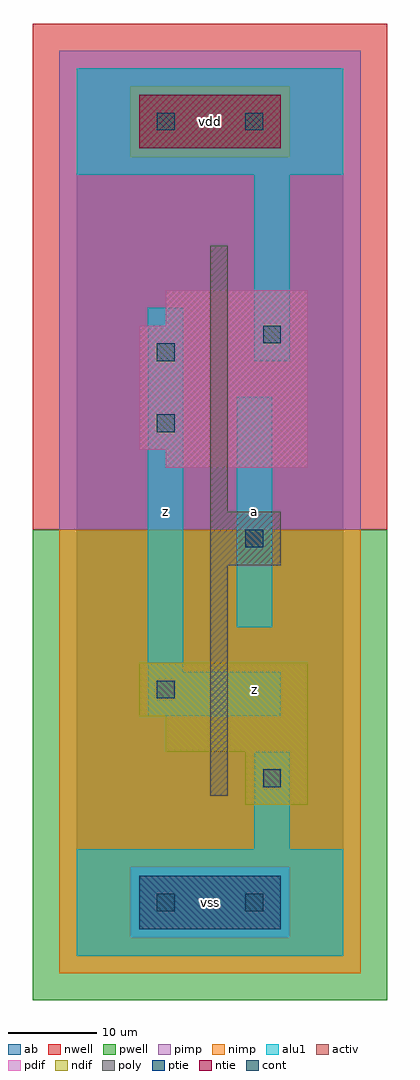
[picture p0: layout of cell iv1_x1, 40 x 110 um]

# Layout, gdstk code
import gdstk
lib = gdstk.Library(unit=1e-6, precision=1e-09)
def R(c, l, rs):  # rectangles x0, y0, x1, y1
    for r in rs: c.add(gdstk.rectangle(r[:2], r[2:], *l))
ndif = (3, 0)
pdif = (4, 0)
ntie = (5, 0)
ptie = (6, 0)
cont = (25, 0)
pwell = (41, 0)
nwell = (42, 0)
activ = (43, 0)
pimp = (44, 0)
nimp = (45, 0)
poly = (46, 0)
alu1 = (49, 0)
ab = (63, 0)

iv1_x1 = lib.new_cell('iv1_x1')
R(iv1_x1, ndif, [(19,17,26,23), (10,23,26,27), (7,27,26,33)])
R(iv1_x1, pdif, [(10,55,26,57), (7,57,26,71), (10,71,26,75)])
R(iv1_x1, ntie, [(7,91,23,97)])
R(iv1_x1, ptie, [(7,3,23,9)])
R(iv1_x1, cont, [(9,5,11,7), (19,5,21,7), (21,19,23,21), (9,29,11,31), (19,46,21,48), (9,59,11,61), (9,67,11,69), (21,69,23,71), (9,93,11,95), (19,93,21,95)])
R(iv1_x1, pwell, [(-5,-5,35,48)])
R(iv1_x1, nwell, [(-5,48,35,105)])
R(iv1_x1, activ, [(7,3,23,9), (19,17,26,23), (10,23,26,27), (7,27,26,33), (10,55,26,57), (7,57,26,71), (10,71,26,75), (7,91,23,97)])
R(iv1_x1, pimp, [(6,2,24,10), (-2,48,32,90), (-2,90,6,98), (24,90,32,98), (-2,98,32,102)])
R(iv1_x1, nimp, [(-2,-2,32,2), (-2,2,6,10), (24,2,32,10), (-2,10,32,48), (6,90,24,98)])
R(iv1_x1, poly, [(15,18,17,44), (15,44,23,50), (15,50,17,80)])
R(iv1_x1, alu1, [(0,0,30,12), (20,12,24,23), (8,27,23,32), (8,32,12,73), (18,37,22,63), (20,67,24,88), (0,88,30,100)])
R(iv1_x1, ab, [(0,0,30,100)])
iv1_x1.add(gdstk.Label('vss', (15,6), layer=49, texttype=0))
iv1_x1.add(gdstk.Label('z', (10,50), layer=49, texttype=0))
iv1_x1.add(gdstk.Label('vdd', (15,94), layer=49, texttype=0))
iv1_x1.add(gdstk.Label('z', (20,30), layer=49, texttype=0))
iv1_x1.add(gdstk.Label('a', (20,50), layer=49, texttype=0))

lib.write_gds('iv1_x1.gds')
